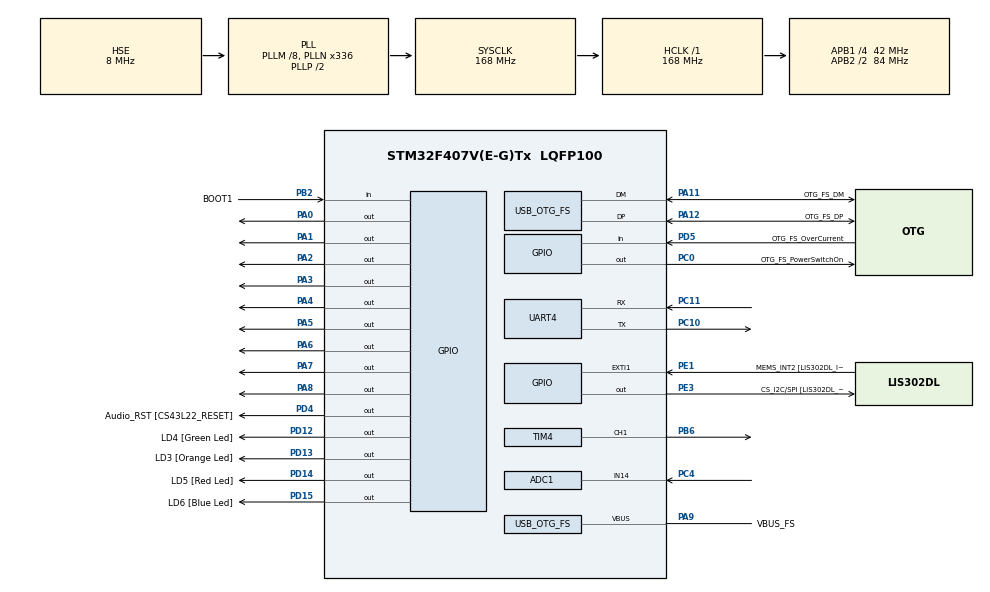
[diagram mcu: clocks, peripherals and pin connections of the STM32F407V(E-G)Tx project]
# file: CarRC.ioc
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ADC1.Channel-0\#ChannelRegularConversion=ADC_CHANNEL_14
ADC1.NbrOfConversionFlag=1
ADC1.Rank-0\#ChannelRegularConversion=1
ADC1.Resolution=ADC_RESOLUTION_8B
ADC1.SamplingTime-0\#ChannelRegularConversion=ADC_SAMPLETIME_3CYCLES
ADC1.master=1
FREERTOS.Tasks01=nhanUart,24,128,Uart4rec,Default,NULL,Dynamic,NULL,NULL;run,16,128,runcar,Default,NULL,Dynamic,NULL,NULL;ADCread,40,128,adcread1,Default,NULL,Dynamic,NULL,NULL
Mcu.Family=STM32F4
Mcu.Name=STM32F407V(E-G)Tx
Mcu.Package=LQFP100
NVIC.OTG_FS_IRQn=true\:5\:0\:false\:false\:true\:true\:true\:true\:true
NVIC.PriorityGroup=NVIC_PRIORITYGROUP_4
NVIC.UART4_IRQn=true\:5\:0\:false\:false\:true\:true\:true\:true\:true
PA0-WKUP.Signal=GPIO_Output
PA1.Signal=GPIO_Output
PA10.GPIO_Label=OTG_FS_ID
PA10.GPIO_Mode=GPIO_MODE_AF_PP
PA10.GPIO_PuPd=GPIO_NOPULL
PA10.GPIO_Speed=GPIO_SPEED_FREQ_LOW
PA10.Signal=USB_OTG_FS_ID
PA11.GPIO_Label=OTG_FS_DM
PA11.GPIO_Mode=GPIO_MODE_AF_PP
PA11.GPIO_PuPd=GPIO_NOPULL
PA11.GPIO_Speed=GPIO_SPEED_FREQ_LOW
PA11.Mode=Host_Only
PA11.Signal=USB_OTG_FS_DM
PA12.GPIO_Label=OTG_FS_DP
PA12.GPIO_Mode=GPIO_MODE_AF_PP
PA12.GPIO_PuPd=GPIO_NOPULL
PA12.GPIO_Speed=GPIO_SPEED_FREQ_LOW
PA12.Mode=Host_Only
PA12.Signal=USB_OTG_FS_DP
PA13.GPIO_Label=SWDIO
PA13.Mode=Serial_Wire
PA13.Signal=SYS_JTMS-SWDIO
PA14.GPIO_Label=SWCLK
PA14.Mode=Serial_Wire
PA14.Signal=SYS_JTCK-SWCLK
PA2.Signal=GPIO_Output
PA3.Signal=GPIO_Output
PA4.Signal=GPIO_Output
PA5.Signal=GPIO_Output
PA6.Signal=GPIO_Output
PA7.Signal=GPIO_Output
PA8.Signal=GPIO_Output
PA9.GPIO_Label=VBUS_FS
PA9.GPIO_Mode=GPIO_MODE_INPUT
PA9.GPIO_PuPd=GPIO_NOPULL
PA9.Mode=Activate_VBUS
PA9.Signal=USB_OTG_FS_VBUS
PB10.GPIO_Label=CLK_IN [MP45DT02_CLK]
PB10.GPIO_Mode=GPIO_MODE_AF_PP
PB10.GPIO_PuPd=GPIO_NOPULL
PB10.GPIO_Speed=GPIO_SPEED_FREQ_LOW
PB10.Signal=I2S2_CK
PB2.GPIO_Label=BOOT1
PB2.GPIO_Mode=GPIO_MODE_INPUT
PB2.GPIO_PuPd=GPIO_NOPULL
PB2.Signal=GPIO_Input
PB3.GPIO_Label=SWO
PB3.Signal=SYS_JTDO-SWO
PB6.Signal=S_TIM4_CH1
PB9.GPIO_Label=Audio_SDA [CS43L22_SDA]
PB9.GPIO_Mode=GPIO_MODE_AF_OD
PB9.GPIO_Pu=GPIO_PULLUP
PB9.GPIO_PuPd=GPIO_NOPULL
PB9.GPIO_Speed=GPIO_SPEED_FREQ_LOW
PB9.Signal=I2C1_SDA
PC0.GPIO_Label=OTG_FS_PowerSwitchOn
PC0.GPIO_PuPd=GPIO_NOPULL
PC0.GPIO_Speed=GPIO_SPEED_FREQ_LOW
PC0.PinState=GPIO_PIN_SET
PC0.Signal=GPIO_Output
PC10.Mode=Asynchronous
PC10.Signal=UART4_TX
PC11.Mode=Asynchronous
PC11.Signal=UART4_RX
PC12.GPIO_Label=I2S3_SD [CS43L22_SDIN]
PC12.GPIO_Mode=GPIO_MODE_AF_PP
PC12.GPIO_PuPd=GPIO_NOPULL
PC12.GPIO_Speed=GPIO_SPEED_FREQ_LOW
PC12.Signal=I2S3_SD
PC14-OSC32_IN.GPIO_Label=PC14-OSC32_IN
PC14-OSC32_IN.Mode=LSE-External-Oscillator
PC14-OSC32_IN.Signal=RCC_OSC32_IN
PC15-OSC32_OUT.GPIO_Label=PC15-OSC32_OUT
PC15-OSC32_OUT.Mode=LSE-External-Oscillator
PC15-OSC32_OUT.Signal=RCC_OSC32_OUT
PC3.GPIO_Label=PDM_OUT [MP45DT02_DOUT]
PC3.GPIO_Mode=GPIO_MODE_AF_PP
PC3.GPIO_PuPd=GPIO_NOPULL
PC3.GPIO_Speed=GPIO_SPEED_FREQ_LOW
PC3.Signal=I2S2_SD
PC4.Signal=ADCx_IN14
PC7.GPIO_Label=I2S3_MCK [CS43L22_MCLK]
PC7.GPIO_Mode=GPIO_MODE_AF_PP
PC7.GPIO_PuPd=GPIO_NOPULL
PC7.GPIO_Speed=GPIO_SPEED_FREQ_LOW
PC7.Signal=I2S3_MCK
PD12.GPIO_Label=LD4 [Green Led]
PD12.GPIO_PuPd=GPIO_NOPULL
PD12.GPIO_Speed=GPIO_SPEED_FREQ_LOW
PD12.Signal=GPIO_Output
PD13.GPIO_Label=LD3 [Orange Led]
PD13.GPIO_PuPd=GPIO_NOPULL
PD13.GPIO_Speed=GPIO_SPEED_FREQ_LOW
PD13.Signal=GPIO_Output
PD14.GPIO_Label=LD5 [Red Led]
PD14.GPIO_PuPd=GPIO_NOPULL
PD14.GPIO_Speed=GPIO_SPEED_FREQ_LOW
PD14.Signal=GPIO_Output
PD15.GPIO_Label=LD6 [Blue Led]
PD15.GPIO_PuPd=GPIO_NOPULL
PD15.GPIO_Speed=GPIO_SPEED_FREQ_LOW
PD15.Signal=GPIO_Output
PD4.GPIO_Label=Audio_RST [CS43L22_RESET]
PD4.GPIO_PuPd=GPIO_NOPULL
PD4.GPIO_Speed=GPIO_SPEED_FREQ_LOW
PD4.Signal=GPIO_Output
PD5.GPIO_Label=OTG_FS_OverCurrent
PD5.GPIO_Mode=GPIO_MODE_INPUT
PD5.GPIO_PuPd=GPIO_NOPULL
PD5.Signal=GPIO_Input
PE1.GPIO_Label=MEMS_INT2 [LIS302DL_INT2]
PE1.GPIO_ModeDefaultEXTI=GPIO_MODE_EVT_RISING
PE1.GPIO_PuPd=GPIO_NOPULL
PE1.Signal=GPXTI1
PE3.GPIO_Label=CS_I2C/SPI [LIS302DL_CS_I2C/SPI]
PE3.GPIO_PuPd=GPIO_NOPULL
PE3.GPIO_Speed=GPIO_SPEED_FREQ_LOW
PE3.Signal=GPIO_Output
PH0-OSC_IN.GPIO_Label=PH0-OSC_IN
PH0-OSC_IN.Mode=HSE-External-Oscillator
PH0-OSC_IN.Signal=RCC_OSC_IN
PH1-OSC_OUT.GPIO_Label=PH1-OSC_OUT
PH1-OSC_OUT.Mode=HSE-External-Oscillator
PH1-OSC_OUT.Signal=RCC_OSC_OUT
ProjectManager.HeapSize=0x200
ProjectManager.StackSize=0x400
ProjectManager.TargetToolchain=STM32CubeIDE
RCC.48MHZClocksFreq_Value=48000000
RCC.AHBFreq_Value=168000000
RCC.APB1CLKDivider=RCC_HCLK_DIV4
RCC.APB1Freq_Value=42000000
RCC.APB1TimFreq_Value=84000000
RCC.APB2CLKDivider=RCC_HCLK_DIV2
RCC.APB2Freq_Value=84000000
RCC.APB2TimFreq_Value=168000000
RCC.CortexFreq_Value=168000000
RCC.HCLKFreq_Value=168000000
RCC.HSE_VALUE=8000000
RCC.HSI_VALUE=16000000
RCC.PLLM=8
RCC.PLLN=336
RCC.PLLQ=7
RCC.SYSCLKFreq_VALUE=168000000
RCC.SYSCLKSource=RCC_SYSCLKSOURCE_PLLCLK
RCC.VCOOutputFreq_Value=336000000
SH.ADCx_IN14.0=ADC1_IN14,IN14
SH.S_TIM4_CH1.0=TIM4_CH1,PWM Generation1 CH1
TIM4.Channel-PWM\ Generation1\ CH1=TIM_CHANNEL_1
TIM4.Period=99
TIM4.Prescaler=840
UART4.VirtualMode=Asynchronous
USB_HOST.BSP.number=1
USB_HOST.USBH_HandleTypeDef-CDC_FS=hUsbHostFS
USB_HOST.USBH_USE_OS-CDC_FS=0
USB_HOST.VirtualModeFS=Cdc
USB_HOST0.BSP.STBoard=false
USB_HOST0.BSP.api=Unknown
USB_HOST0.BSP.instance=PC0
USB_HOST0.BSP.ip=GPIO
USB_HOST0.BSP.mode=Output
USB_HOST0.BSP.name=Drive_VBUS_FS
USB_HOST0.BSP.solution=PC0
USB_OTG_FS.VirtualMode=Host_Only
USB_OTG_FS.phy_itface=HCD_PHY_EMBEDDED
VP_FREERTOS_VS_CMSIS_V2.Mode=CMSIS_V2
VP_TIM4_VS_ClockSourceINT.Mode=Internal
VP_USB_HOST_VS_USB_HOST_CDC_FS.Mode=CDC_FS
board=STM32F407G-DISC1

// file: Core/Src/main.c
/* USER CODE BEGIN Header */
/**
  ******************************************************************************
  * @file           : main.c
  * @brief          : Main program body
  ******************************************************************************
  * @attention
  *
  * Copyright (c) 2024 STMicroelectronics.
  * All rights reserved.
  *
  * This software is licensed under terms that can be found in the LICENSE file
  * in the root directory of this software component.
  * If no LICENSE file comes with this software, it is provided AS-IS.
  *
  ******************************************************************************
  */
/* USER CODE END Header */
#include "main.h"
#include "cmsis_os.h"
#include "usb_host.h"

/* USER CODE BEGIN Includes */
#include <stdio.h>
#include <string.h>
/* USER CODE END Includes */

ADC_HandleTypeDef hadc1;

TIM_HandleTypeDef htim4;

UART_HandleTypeDef huart4;

/* Definitions for nhanUart */
osThreadId_t nhanUartHandle;
const osThreadAttr_t nhanUart_attributes = {
  .name = "nhanUart",
  .stack_size = 128 * 4,
  .priority = (osPriority_t) osPriorityNormal,
};
/* Definitions for run */
osThreadId_t runHandle;
const osThreadAttr_t run_attributes = {
  .name = "run",
  .stack_size = 128 * 4,
  .priority = (osPriority_t) osPriorityBelowNormal,
};
/* Definitions for ADCread */
osThreadId_t ADCreadHandle;
const osThreadAttr_t ADCread_attributes = {
  .name = "ADCread",
  .stack_size = 128 * 4,
  .priority = (osPriority_t) osPriorityHigh,
};

void SystemClock_Config(void);
static void MX_GPIO_Init(void);
static void MX_UART4_Init(void);
static void MX_ADC1_Init(void);
static void MX_TIM4_Init(void);
void Uart4rec(void *argument);
void runcar(void *argument);
void adcread1(void *argument);

/* USER CODE BEGIN PFP */

	void dithang()
	{
		  HAL_GPIO_WritePin(GPIOA, GPIO_PIN_0 | GPIO_PIN_3 | GPIO_PIN_5 | GPIO_PIN_6 , 1);
		  HAL_GPIO_WritePin(GPIOA, GPIO_PIN_1 | GPIO_PIN_2 | GPIO_PIN_4 | GPIO_PIN_7 , 0);
	}
	void dilui()
	  {
		  HAL_GPIO_WritePin(GPIOA, GPIO_PIN_0 | GPIO_PIN_3 | GPIO_PIN_5 | GPIO_PIN_6, 0);
		  HAL_GPIO_WritePin(GPIOA, GPIO_PIN_1 | GPIO_PIN_2 | GPIO_PIN_4 | GPIO_PIN_7, 1);
	  }
	void dunglai()
	{
		  HAL_GPIO_WritePin(GPIOA, GPIO_PIN_0 | GPIO_PIN_3 | GPIO_PIN_5 | GPIO_PIN_6 ,1);
		  HAL_GPIO_WritePin(GPIOA, GPIO_PIN_1 | GPIO_PIN_2 | GPIO_PIN_4 | GPIO_PIN_7 ,1);
	}
	void dingangphai()
	{
		HAL_GPIO_WritePin(GPIOA, GPIO_PIN_1 | GPIO_PIN_3 | GPIO_PIN_4 | GPIO_PIN_6 ,1);
		HAL_GPIO_WritePin(GPIOA, GPIO_PIN_0 | GPIO_PIN_2 | GPIO_PIN_5 | GPIO_PIN_7 ,0);
	}

	void dingangtrai()
	{
		HAL_GPIO_WritePin(GPIOA, GPIO_PIN_0 | GPIO_PIN_2 | GPIO_PIN_5 | GPIO_PIN_7 ,1);
		HAL_GPIO_WritePin(GPIOA, GPIO_PIN_1 | GPIO_PIN_3 | GPIO_PIN_4 | GPIO_PIN_6 ,0);
	}
	void queotrai()
	  {
		  HAL_GPIO_WritePin(GPIOA, GPIO_PIN_0 | GPIO_PIN_2 | GPIO_PIN_4 | GPIO_PIN_6, 0);
		  HAL_GPIO_WritePin(GPIOA, GPIO_PIN_1 | GPIO_PIN_3 | GPIO_PIN_5 | GPIO_PIN_7, 1);
	  }
	void queophai()
	  {
		  HAL_GPIO_WritePin(GPIOA, GPIO_PIN_0 | GPIO_PIN_2 | GPIO_PIN_4 | GPIO_PIN_6, 1);
		  HAL_GPIO_WritePin(GPIOA, GPIO_PIN_1 | GPIO_PIN_3 | GPIO_PIN_5 | GPIO_PIN_7, 0);
	  }
	void xienlen_trai()
		  {
			  HAL_GPIO_WritePin(GPIOA, GPIO_PIN_0 | GPIO_PIN_5 , 1);
			  HAL_GPIO_WritePin(GPIOA, GPIO_PIN_1 | GPIO_PIN_4 , 0);
			  HAL_GPIO_WritePin(GPIOA, GPIO_PIN_2 | GPIO_PIN_3 | GPIO_PIN_6 | GPIO_PIN_7 , 0);
		  }
	void xienxuong_phai()
		  {
		  HAL_GPIO_WritePin(GPIOA, GPIO_PIN_0 | GPIO_PIN_5 , 0);
		  HAL_GPIO_WritePin(GPIOA, GPIO_PIN_1 | GPIO_PIN_4 , 1);
		  HAL_GPIO_WritePin(GPIOA, GPIO_PIN_2 | GPIO_PIN_3 | GPIO_PIN_6 | GPIO_PIN_7 , 0);
		  }
	void xienlen_phai()
			  {
				  HAL_GPIO_WritePin(GPIOA, GPIO_PIN_3 | GPIO_PIN_6 , 1);
				  HAL_GPIO_WritePin(GPIOA, GPIO_PIN_2 | GPIO_PIN_7 , 0);
				  HAL_GPIO_WritePin(GPIOA, GPIO_PIN_0 | GPIO_PIN_1 | GPIO_PIN_4 | GPIO_PIN_5 , 0);
			  }
	void xienxuong_trai()
			  {
				  HAL_GPIO_WritePin(GPIOA, GPIO_PIN_3 | GPIO_PIN_6 , 0);
				  HAL_GPIO_WritePin(GPIOA, GPIO_PIN_2 | GPIO_PIN_7 , 1);
				  HAL_GPIO_WritePin(GPIOA, GPIO_PIN_0 | GPIO_PIN_1 | GPIO_PIN_4 | GPIO_PIN_5 , 0);
			  }

/* USER CODE END PFP */

/* USER CODE BEGIN 0 */
	uint8_t check = 0;
	uint16_t raw;
	char msg[10];
	uint8_t Distance;
/* USER CODE END 0 */

int main(void)
{

  /* MCU Configuration--------------------------------------------------------*/

  /* Reset of all peripherals, Initializes the Flash interface and the Systick. */
  HAL_Init();

  /* Configure the system clock */
  SystemClock_Config();

  /* Initialize all configured peripherals */
  MX_GPIO_Init();
  MX_UART4_Init();
  MX_ADC1_Init();
  MX_TIM4_Init();

  /* Init scheduler */
  osKernelInitialize();

  /* Create the thread(s) */
  /* creation of nhanUart */
  nhanUartHandle = osThreadNew(Uart4rec, NULL, &nhanUart_attributes);

  /* creation of run */
  runHandle = osThreadNew(runcar, NULL, &run_attributes);

  /* creation of ADCread */
  ADCreadHandle = osThreadNew(adcread1, NULL, &ADCread_attributes);

  /* Start scheduler */
  osKernelStart();
  /* We should never get here as control is now taken by the scheduler */
  /* Infinite loop */
  while (1)
  {

    /* USER CODE BEGIN 3 */

    //HAL_UART_Receive(&huart4, &check, 1, 500);
    //HAL_UART_Transmit(&huart4, &check, 1, 500);

  }
  /* USER CODE END 3 */
}

void SystemClock_Config(void)
{
  RCC_OscInitTypeDef RCC_OscInitStruct = {0};
  RCC_ClkInitTypeDef RCC_ClkInitStruct = {0};

  /** Configure the main internal regulator output voltage
  */
  __HAL_RCC_PWR_CLK_ENABLE();
  __HAL_PWR_VOLTAGESCALING_CONFIG(PWR_REGULATOR_VOLTAGE_SCALE1);

  /** Initializes the RCC Oscillators according to the specified parameters
  * in the RCC_OscInitTypeDef structure.
  */
  RCC_OscInitStruct.OscillatorType = RCC_OSCILLATORTYPE_HSE;
  RCC_OscInitStruct.HSEState = RCC_HSE_ON;
  RCC_OscInitStruct.PLL.PLLState = RCC_PLL_ON;
  RCC_OscInitStruct.PLL.PLLSource = RCC_PLLSOURCE_HSE;
  RCC_OscInitStruct.PLL.PLLM = 8;
  RCC_OscInitStruct.PLL.PLLN = 336;
  RCC_OscInitStruct.PLL.PLLP = RCC_PLLP_DIV2;
  RCC_OscInitStruct.PLL.PLLQ = 7;
  if (HAL_RCC_OscConfig(&RCC_OscInitStruct) != HAL_OK)
  {
    Error_Handler();
  }

  /** Initializes the CPU, AHB and APB buses clocks
  */
  RCC_ClkInitStruct.ClockType = RCC_CLOCKTYPE_HCLK|RCC_CLOCKTYPE_SYSCLK
                              |RCC_CLOCKTYPE_PCLK1|RCC_CLOCKTYPE_PCLK2;
  RCC_ClkInitStruct.SYSCLKSource = RCC_SYSCLKSOURCE_PLLCLK;
  RCC_ClkInitStruct.AHBCLKDivider = RCC_SYSCLK_DIV1;
  RCC_ClkInitStruct.APB1CLKDivider = RCC_HCLK_DIV4;
  RCC_ClkInitStruct.APB2CLKDivider = RCC_HCLK_DIV2;

  if (HAL_RCC_ClockConfig(&RCC_ClkInitStruct, FLASH_LATENCY_5) != HAL_OK)
  {
    Error_Handler();
  }
}

static void MX_ADC1_Init(void)
{

  ADC_ChannelConfTypeDef sConfig = {0};

  /** Configure the global features of the ADC (Clock, Resolution, Data Alignment and number of conversion)
  */
  hadc1.Instance = ADC1;
  hadc1.Init.ClockPrescaler = ADC_CLOCK_SYNC_PCLK_DIV4;
  hadc1.Init.Resolution = ADC_RESOLUTION_8B;
  hadc1.Init.ScanConvMode = DISABLE;
  hadc1.Init.ContinuousConvMode = DISABLE;
  hadc1.Init.DiscontinuousConvMode = DISABLE;
  hadc1.Init.ExternalTrigConvEdge = ADC_EXTERNALTRIGCONVEDGE_NONE;
  hadc1.Init.ExternalTrigConv = ADC_SOFTWARE_START;
  hadc1.Init.DataAlign = ADC_DATAALIGN_RIGHT;
  hadc1.Init.NbrOfConversion = 1;
  hadc1.Init.DMAContinuousRequests = DISABLE;
  hadc1.Init.EOCSelection = ADC_EOC_SINGLE_CONV;
  if (HAL_ADC_Init(&hadc1) != HAL_OK)
  {
    Error_Handler();
  }

  /** Configure for the selected ADC regular channel its corresponding rank in the sequencer and its sample time.
  */
  sConfig.Channel = ADC_CHANNEL_14;
  sConfig.Rank = 1;
  sConfig.SamplingTime = ADC_SAMPLETIME_3CYCLES;
  if (HAL_ADC_ConfigChannel(&hadc1, &sConfig) != HAL_OK)
  {
    Error_Handler();
  }

}

static void MX_TIM4_Init(void)
{

  TIM_ClockConfigTypeDef sClockSourceConfig = {0};
  TIM_MasterConfigTypeDef sMasterConfig = {0};
  TIM_OC_InitTypeDef sConfigOC = {0};

  htim4.Instance = TIM4;
  htim4.Init.Prescaler = 840;
  htim4.Init.CounterMode = TIM_COUNTERMODE_UP;
  htim4.Init.Period = 99;
  htim4.Init.ClockDivision = TIM_CLOCKDIVISION_DIV1;
  htim4.Init.AutoReloadPreload = TIM_AUTORELOAD_PRELOAD_DISABLE;
  if (HAL_TIM_Base_Init(&htim4) != HAL_OK)
  {
    Error_Handler();
  }
  sClockSourceConfig.ClockSource = TIM_CLOCKSOURCE_INTERNAL;
  if (HAL_TIM_ConfigClockSource(&htim4, &sClockSourceConfig) != HAL_OK)
  {
    Error_Handler();
  }
  if (HAL_TIM_PWM_Init(&htim4) != HAL_OK)
  {
    Error_Handler();
  }
  sMasterConfig.MasterOutputTrigger = TIM_TRGO_RESET;
  sMasterConfig.MasterSlaveMode = TIM_MASTERSLAVEMODE_DISABLE;
  if (HAL_TIMEx_MasterConfigSynchronization(&htim4, &sMasterConfig) != HAL_OK)
  {
    Error_Handler();
  }
  sConfigOC.OCMode = TIM_OCMODE_PWM1;
  sConfigOC.Pulse = 0;
  sConfigOC.OCPolarity = TIM_OCPOLARITY_HIGH;
  sConfigOC.OCFastMode = TIM_OCFAST_DISABLE;
  if (HAL_TIM_PWM_ConfigChannel(&htim4, &sConfigOC, TIM_CHANNEL_1) != HAL_OK)
  {
    Error_Handler();
  }
  HAL_TIM_MspPostInit(&htim4);

}

static void MX_UART4_Init(void)
{

  huart4.Instance = UART4;
  huart4.Init.BaudRate = 115200;
  huart4.Init.WordLength = UART_WORDLENGTH_8B;
  huart4.Init.StopBits = UART_STOPBITS_1;
  huart4.Init.Parity = UART_PARITY_NONE;
  huart4.Init.Mode = UART_MODE_TX_RX;
  huart4.Init.HwFlowCtl = UART_HWCONTROL_NONE;
  huart4.Init.OverSampling = UART_OVERSAMPLING_16;
  if (HAL_UART_Init(&huart4) != HAL_OK)
  {
    Error_Handler();
  }

}

static void MX_GPIO_Init(void)
{
  GPIO_InitTypeDef GPIO_InitStruct = {0};

  /* GPIO Ports Clock Enable */
  __HAL_RCC_GPIOE_CLK_ENABLE();
  __HAL_RCC_GPIOC_CLK_ENABLE();
  __HAL_RCC_GPIOH_CLK_ENABLE();
  __HAL_RCC_GPIOA_CLK_ENABLE();
  __HAL_RCC_GPIOB_CLK_ENABLE();
  __HAL_RCC_GPIOD_CLK_ENABLE();

  /*Configure GPIO pin Output Level */
  HAL_GPIO_WritePin(CS_I2C_SPI_GPIO_Port, CS_I2C_SPI_Pin, GPIO_PIN_RESET);

  /*Configure GPIO pin Output Level */
  HAL_GPIO_WritePin(OTG_FS_PowerSwitchOn_GPIO_Port, OTG_FS_PowerSwitchOn_Pin, GPIO_PIN_SET);

  /*Configure GPIO pin Output Level */
  HAL_GPIO_WritePin(GPIOA, GPIO_PIN_0|GPIO_PIN_1|GPIO_PIN_2|GPIO_PIN_3
                          |GPIO_PIN_4|GPIO_PIN_5|GPIO_PIN_6|GPIO_PIN_7
                          |GPIO_PIN_8, GPIO_PIN_RESET);

  /*Configure GPIO pin Output Level */
  HAL_GPIO_WritePin(GPIOD, LD4_Pin|LD3_Pin|LD5_Pin|LD6_Pin
                          |Audio_RST_Pin, GPIO_PIN_RESET);

  /*Configure GPIO pin : CS_I2C_SPI_Pin */
  GPIO_InitStruct.Pin = CS_I2C_SPI_Pin;
  GPIO_InitStruct.Mode = GPIO_MODE_OUTPUT_PP;
  GPIO_InitStruct.Pull = GPIO_NOPULL;
  GPIO_InitStruct.Speed = GPIO_SPEED_FREQ_LOW;
  HAL_GPIO_Init(CS_I2C_SPI_GPIO_Port, &GPIO_InitStruct);

  /*Configure GPIO pin : OTG_FS_PowerSwitchOn_Pin */
  GPIO_InitStruct.Pin = OTG_FS_PowerSwitchOn_Pin;
  GPIO_InitStruct.Mode = GPIO_MODE_OUTPUT_PP;
  GPIO_InitStruct.Pull = GPIO_NOPULL;
  GPIO_InitStruct.Speed = GPIO_SPEED_FREQ_LOW;
  HAL_GPIO_Init(OTG_FS_PowerSwitchOn_GPIO_Port, &GPIO_InitStruct);

  /*Configure GPIO pin : PDM_OUT_Pin */
  GPIO_InitStruct.Pin = PDM_OUT_Pin;
  GPIO_InitStruct.Mode = GPIO_MODE_AF_PP;
  GPIO_InitStruct.Pull = GPIO_NOPULL;
  GPIO_InitStruct.Speed = GPIO_SPEED_FREQ_LOW;
  GPIO_InitStruct.Alternate = GPIO_AF5_SPI2;
  HAL_GPIO_Init(PDM_OUT_GPIO_Port, &GPIO_InitStruct);

  /*Configure GPIO pins : PA0 PA1 PA2 PA3
                           PA4 PA5 PA6 PA7
                           PA8 */
  GPIO_InitStruct.Pin = GPIO_PIN_0|GPIO_PIN_1|GPIO_PIN_2|GPIO_PIN_3
                          |GPIO_PIN_4|GPIO_PIN_5|GPIO_PIN_6|GPIO_PIN_7
                          |GPIO_PIN_8;
  GPIO_InitStruct.Mode = GPIO_MODE_OUTPUT_PP;
  GPIO_InitStruct.Pull = GPIO_NOPULL;
  GPIO_InitStruct.Speed = GPIO_SPEED_FREQ_LOW;
  HAL_GPIO_Init(GPIOA, &GPIO_InitStruct);

  /*Configure GPIO pin : BOOT1_Pin */
  GPIO_InitStruct.Pin = BOOT1_Pin;
  GPIO_InitStruct.Mode = GPIO_MODE_INPUT;
  GPIO_InitStruct.Pull = GPIO_NOPULL;
  HAL_GPIO_Init(BOOT1_GPIO_Port, &GPIO_InitStruct);

  /*Configure GPIO pin : CLK_IN_Pin */
  GPIO_InitStruct.Pin = CLK_IN_Pin;
  GPIO_InitStruct.Mode = GPIO_MODE_AF_PP;
  GPIO_InitStruct.Pull = GPIO_NOPULL;
  GPIO_InitStruct.Speed = GPIO_SPEED_FREQ_LOW;
  GPIO_InitStruct.Alternate = GPIO_AF5_SPI2;
  HAL_GPIO_Init(CLK_IN_GPIO_Port, &GPIO_InitStruct);

  /*Configure GPIO pins : LD4_Pin LD3_Pin LD5_Pin LD6_Pin
                           Audio_RST_Pin */
  GPIO_InitStruct.Pin = LD4_Pin|LD3_Pin|LD5_Pin|LD6_Pin
                          |Audio_RST_Pin;
  GPIO_InitStruct.Mode = GPIO_MODE_OUTPUT_PP;
  GPIO_InitStruct.Pull = GPIO_NOPULL;
  GPIO_InitStruct.Speed = GPIO_SPEED_FREQ_LOW;
  HAL_GPIO_Init(GPIOD, &GPIO_InitStruct);

  /*Configure GPIO pins : I2S3_MCK_Pin I2S3_SD_Pin */
  GPIO_InitStruct.Pin = I2S3_MCK_Pin|I2S3_SD_Pin;
  GPIO_InitStruct.Mode = GPIO_MODE_AF_PP;
  GPIO_InitStruct.Pull = GPIO_NOPULL;
  GPIO_InitStruct.Speed = GPIO_SPEED_FREQ_LOW;
  GPIO_InitStruct.Alternate = GPIO_AF6_SPI3;
  HAL_GPIO_Init(GPIOC, &GPIO_InitStruct);

  /*Configure GPIO pin : OTG_FS_OverCurrent_Pin */
  GPIO_InitStruct.Pin = OTG_FS_OverCurrent_Pin;
  GPIO_InitStruct.Mode = GPIO_MODE_INPUT;
  GPIO_InitStruct.Pull = GPIO_NOPULL;
  HAL_GPIO_Init(OTG_FS_OverCurrent_GPIO_Port, &GPIO_InitStruct);

  /*Configure GPIO pin : Audio_SDA_Pin */
  GPIO_InitStruct.Pin = Audio_SDA_Pin;
  GPIO_InitStruct.Mode = GPIO_MODE_AF_OD;
  GPIO_InitStruct.Pull = GPIO_PULLUP;
  GPIO_InitStruct.Speed = GPIO_SPEED_FREQ_LOW;
  GPIO_InitStruct.Alternate = GPIO_AF4_I2C1;
  HAL_GPIO_Init(Audio_SDA_GPIO_Port, &GPIO_InitStruct);

  /*Configure GPIO pin : MEMS_INT2_Pin */
  GPIO_InitStruct.Pin = MEMS_INT2_Pin;
  GPIO_InitStruct.Mode = GPIO_MODE_EVT_RISING;
  GPIO_InitStruct.Pull = GPIO_NOPULL;
  HAL_GPIO_Init(MEMS_INT2_GPIO_Port, &GPIO_InitStruct);

}

void Uart4rec(void *argument)
{
  /* init code for USB_HOST */
  MX_USB_HOST_Init();
  /* USER CODE BEGIN 5 */
  /* Infinite loop */
  for(;;)
  {
	sprintf(msg, "\ntocdo: %hu\r\n", raw);
	if (HAL_UART_Receive(&huart4, &check, 1, 500) == HAL_OK)
	{
		//HAL_UART_Transmit(&huart4,  &check, 1, 500);
		//HAL_UART_Transmit(&huart4, (uint8_t*)msg, strlen(msg), 500);
	}

	osDelay(100);
  }
  /* USER CODE END 5 */
}

void runcar(void *argument)
{
  /* USER CODE BEGIN runcar */
	HAL_TIM_PWM_Start(&htim4, TIM_CHANNEL_1);
  /* Infinite loop */
  for(;;)
  {
	if (check == 'W'){
		dithang();
		__HAL_TIM_SetCompare(&htim4, TIM_CHANNEL_1, raw);
	}
	else if (check == 'S')
	{
		dilui();
		__HAL_TIM_SetCompare(&htim4, TIM_CHANNEL_1, raw);
	}
	else if (check == 'A')
		{
			dingangtrai();
			__HAL_TIM_SetCompare(&htim4, TIM_CHANNEL_1, raw);
		}
	else if (check == 'D')
		{
			dingangphai();
			__HAL_TIM_SetCompare(&htim4, TIM_CHANNEL_1, raw);
		}
	else if (check == 'Q')
		{
			xienlen_trai();
			__HAL_TIM_SetCompare(&htim4, TIM_CHANNEL_1, raw);
		}
	else if (check == 'C')
		{
			xienxuong_phai();
			__HAL_TIM_SetCompare(&htim4, TIM_CHANNEL_1, raw);
		}
	else if (check == 'E')
		{
			xienlen_phai();
			__HAL_TIM_SetCompare(&htim4, TIM_CHANNEL_1, raw);
		}
	else if (check == 'Z')
		{
			xienxuong_trai();
			__HAL_TIM_SetCompare(&htim4, TIM_CHANNEL_1, raw);
		}
	else if (check == 'L')
		{
			queotrai();
			__HAL_TIM_SetCompare(&htim4, TIM_CHANNEL_1, raw);
		}
	else if (check == 'R')
		{
			queophai();
			__HAL_TIM_SetCompare(&htim4, TIM_CHANNEL_1, raw);
		}
	else dunglai();

    osDelay(1);
  }
  /* USER CODE END runcar */
}

void adcread1(void *argument)
{
  /* USER CODE BEGIN adcread1 */

  /* Infinite loop */
  for(;;)
  {
	  // set gpio pin high
	  HAL_GPIO_WritePin(GPIOC, GPIO_PIN_4, GPIO_PIN_SET);

	  // get adc
	  HAL_ADC_Start(&hadc1);
	  HAL_ADC_PollForConversion(&hadc1, HAL_MAX_DELAY);
	  raw = HAL_ADC_GetValue(&hadc1);

	  //HC-SR04

	  osDelay(1);
  }
  /* USER CODE END adcread1 */
}

void Error_Handler(void)
{
  __disable_irq();
  while (1)
  {
  }
}
